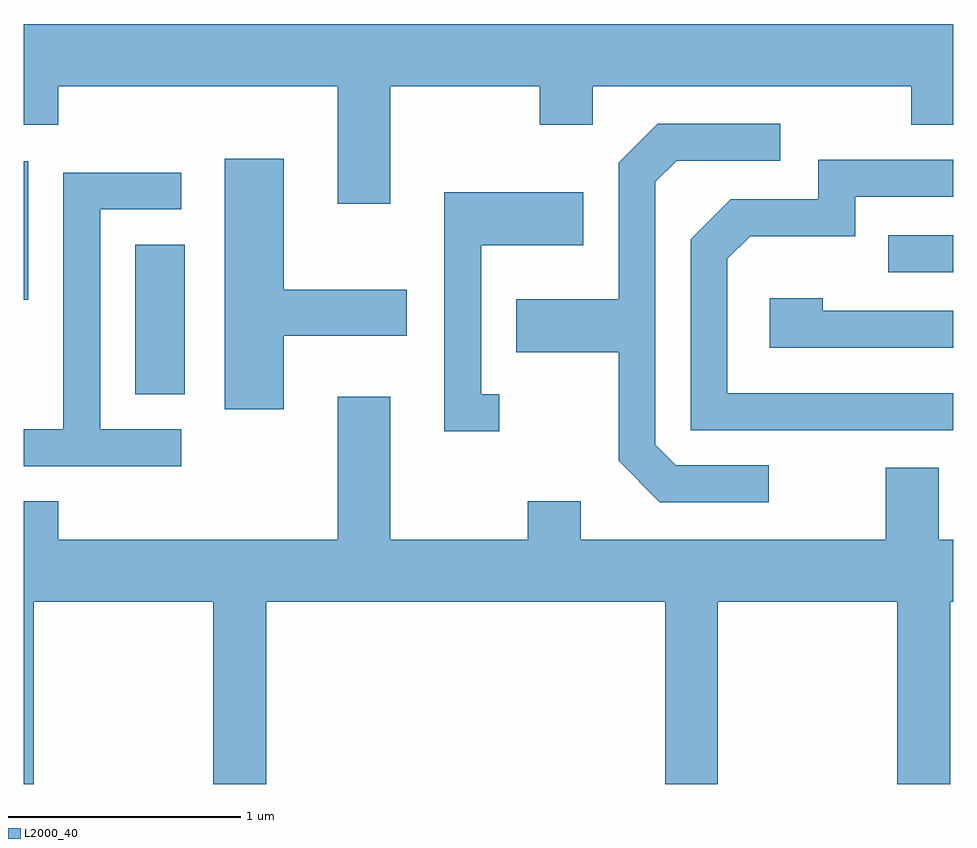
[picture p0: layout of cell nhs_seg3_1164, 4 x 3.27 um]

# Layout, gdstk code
import gdstk
lib = gdstk.Library(unit=1e-6, precision=1e-09)
def R(c, l, rs):  # rectangles x0, y0, x1, y1
    for r in rs: c.add(gdstk.rectangle(r[:2], r[2:], *l))
def P(c, l, *ps):  # polygons
    for p in ps: c.add(gdstk.Polygon(p, *l))
L2000_40 = (2000, 40)

nhs_seg3_1164 = lib.new_cell('nhs_seg3_1164')
R(nhs_seg3_1164, L2000_40, [(220.091,1133.571,220.304,1134.214), (219.611,1133.976,219.629,1134.574), (223.333,1134.096,223.611,1134.254)])
P(nhs_seg3_1164, L2000_40, [(221.189,1134.896),(221.831,1134.896),(221.831,1134.731),(222.059,1134.731),(222.059,1134.896),(223.431,1134.896),(223.431,1134.731),(223.611,1134.731),(223.611,1135.164),(219.611,1135.164),(219.611,1134.731),(219.759,1134.731),(219.759,1134.896),(220.961,1134.896),(220.961,1134.391),(221.189,1134.391)],
  [(222.818,1133.264),(222.417,1133.264),(222.329,1133.352),(222.329,1134.484),(222.422,1134.576),(222.868,1134.576),(222.868,1134.734),(222.339,1134.734),(222.171,1134.567),(222.171,1133.979),(221.731,1133.979),(221.731,1133.751),(222.171,1133.751),(222.171,1133.284),(222.349,1133.106),(222.818,1133.106)],
  [(220.729,1133.821),(221.259,1133.821),(221.259,1134.019),(220.729,1134.019),(220.729,1134.584),(220.476,1134.584),(220.476,1133.506),(220.729,1133.506)],
  [(223.611,1133.574),(222.639,1133.574),(222.639,1134.154),(222.737,1134.251),(223.189,1134.251),(223.189,1134.421),(223.611,1134.421),(223.611,1134.579),(223.031,1134.579),(223.031,1134.409),(222.654,1134.409),(222.481,1134.237),(222.481,1133.416),(223.611,1133.416)],
  [(220.288,1133.419),(219.939,1133.419),(219.939,1134.366),(220.288,1134.366),(220.288,1134.524),(219.781,1134.524),(219.781,1133.419),(219.611,1133.419),(219.611,1133.261),(220.288,1133.261)],
  [(221.658,1133.569),(221.579,1133.569),(221.579,1134.211),(222.019,1134.211),(222.019,1134.439),(221.421,1134.439),(221.421,1133.411),(221.658,1133.411)],
  [(223.611,1133.929),(223.049,1133.929),(223.049,1133.984),(222.821,1133.984),(222.821,1133.771),(223.611,1133.771)],
  [(219.654,1132.676),(220.426,1132.676),(220.426,1131.892),(220.654,1131.892),(220.654,1132.676),(222.371,1132.676),(222.371,1131.892),(222.599,1131.892),(222.599,1132.676),(223.371,1132.676),(223.371,1131.892),(223.599,1131.892),(223.599,1132.676),(223.611,1132.676),(223.611,1132.944),(223.549,1132.944),(223.549,1133.254),(223.321,1133.254),(223.321,1132.944),(222.009,1132.944),(222.009,1133.109),(221.781,1133.109),(221.781,1132.944),(221.189,1132.944),(221.189,1133.559),(220.961,1133.559),(220.961,1132.944),(219.759,1132.944),(219.759,1133.109),(219.611,1133.109),(219.611,1131.892),(219.654,1131.892)])

lib.write_gds('nhs_seg3_1164.gds')
